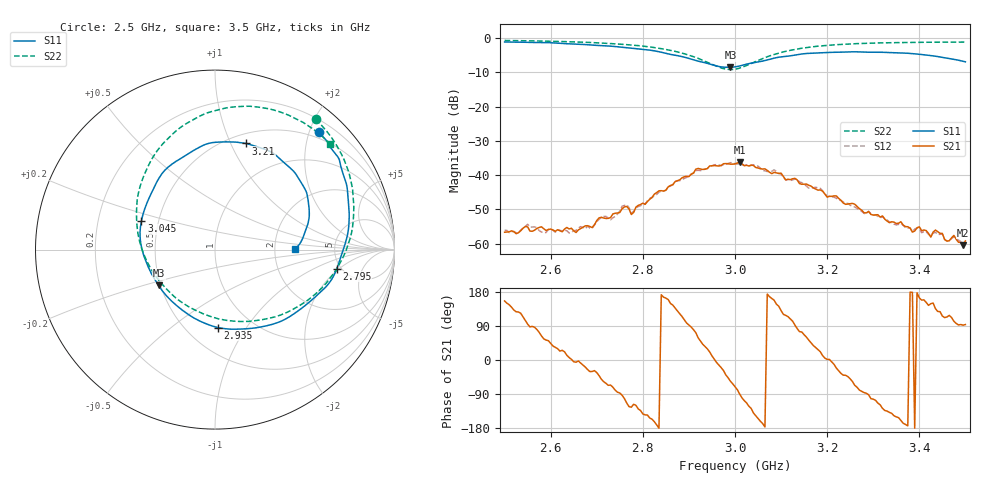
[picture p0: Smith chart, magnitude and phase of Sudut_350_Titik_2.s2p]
# Hz S RI R 50
! CMT, C1220, 16058040, 17.2.0/1
! Date: 15/08/2018 10:53:44
! Data: Format (Calibration Info)
! Freq  S11: Re/Im (F2)  S21: Re/Im (F2)  S12: Re/Im (F2)  S22: Re/Im (F2)
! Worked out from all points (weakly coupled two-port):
!   201 points, 2.5 GHz to 3.5 GHz, reference 50 ohm
!   highest |S21| = -36.29 dB at 3.01 GHz (marker M1); lowest = -60.4 dB at 3.495 GHz (marker M2)
!   lowest |S11| = -8.6 dB at 2.99 GHz (marker M3), VSWR 2.19, Z = 24.4 - j11.3 ohm
!   |S11| at or under -10 dB: nowhere
!   |S22| runs from -9.2 to -0.7 dB; largest |S21 - S12| = 0.0011
!   S11 on the Smith chart (normalised r, x): 2.5 GHz: 0.39, +2.17; 2.795 GHz: 4.61, -1.86; 2.935 GHz: 0.70, -0.75; 3.045 GHz: 0.40, +0.16; 3.21 GHz: 0.60, +1.14; 3.5 GHz: 2.63, +0.02
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2.5e9  0.5797 0.6528  -0.00134 0.000602  -0.00145 0.000611  0.5609 0.7273
2.67e9  0.739 0.3171  0.0017 -0.000402  0.00163 -0.000535  0.7361 0.4567
2.73e9  0.746 0.1386  0.000974 -0.0022  0.00072 -0.00211  0.7689 0.3053
2.755e9  0.7291 0.0464  -0.000168 -0.00323  -5.75e-06 -0.00352  0.7732 0.2319
2.775e9  0.7076 -0.0221  -0.00151 -0.00219  -0.00168 -0.00226  0.7704 0.166
2.795e9  0.6788 -0.1064  -0.00255 -0.00271  -0.00249 -0.00257  0.7611 0.0953
2.835e9  0.58 -0.2442  -0.0059 -3.24e-06  -0.00563 -0.000199  0.7034 -0.0624
2.935e9  0.0158 -0.4343  0.00991 0.00711  0.0096 0.00756  0.2259 -0.3957
2.99e9  -0.3143 -0.1998  0.00809 -0.012  0.00875 -0.0124  -0.2131 -0.2741
3e9  -0.3528 -0.1367  0.00484 -0.0137  0.00412 -0.014  -0.2776 -0.2118
3.01e9  -0.3835 -0.0683  0.000109 -0.0153  0.000173 -0.0146  -0.3337 -0.1434
3.045e9  -0.41 0.1583  -0.0108 -0.00704  -0.0113 -0.00762  -0.4343 0.1308
3.1e9  -0.2598 0.4606  -0.00691 0.00812  -0.00628 0.00815  -0.3538 0.5016
3.17e9  0.0228 0.5991  0.0051 0.00402  0.00483 0.00441  -0.0948 0.7384
3.21e9  0.1734 0.5911  0.00488 -0.000422  0.00474 -0.000878  0.0498 0.7865
3.335e9  0.4668 0.3955  -0.00151 -0.00135  -0.00158 -0.00132  0.3888 0.7575
3.425e9  0.5241 0.1755  -0.00106 0.000649  -0.00105 0.000771  0.5453 0.6732
3.435e9  0.5196 0.1517  -0.00113 0.00111  -0.000986 0.00108  0.5599 0.6609
3.46e9  0.4983 0.0884  -0.000436 0.001  -0.000381 0.00102  0.5946 0.634
3.475e9  0.4837 0.0527  -0.00028 0.00129  -0.000308 0.00122  0.6121 0.6167
3.495e9  0.4563 0.0132  -3.19e-05 0.000959  6.67e-05 0.000917  0.636 0.5928
3.5e9  0.4483 0.00378  -6.61e-05 0.0011  7.67e-06 0.00102  0.6416 0.587
